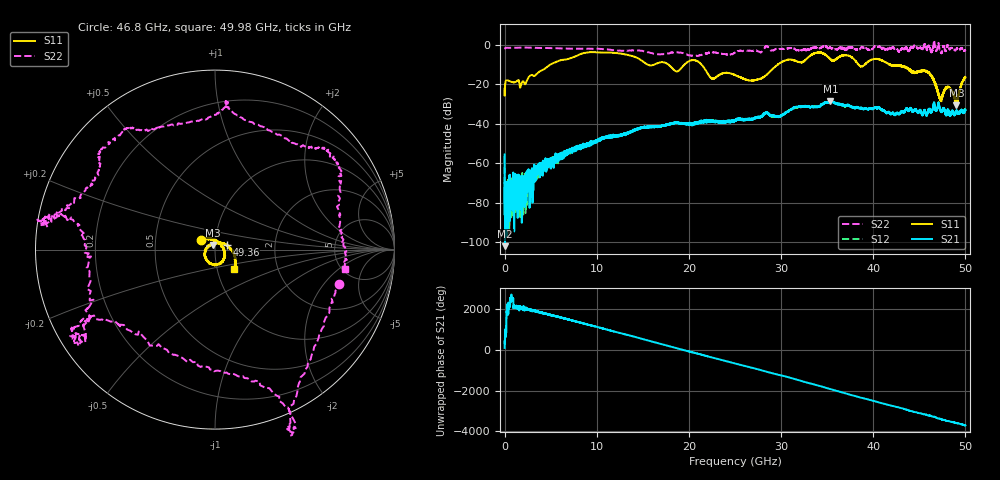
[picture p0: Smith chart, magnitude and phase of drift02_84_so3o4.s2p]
!Created with skrf (http://scikit-rf.org).
# Hz S RI R 50.0
!freq ReS11 ImS11 ReS21 ImS21 ReS12 ImS12 ReS22 ImS22
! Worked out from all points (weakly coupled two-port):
!   10001 points, 300 kHz to 50 GHz, reference 50 ohm
!   highest |S21| = -28.47 dB at 35.35 GHz (marker M1); lowest = -102.1 dB at 45.3 MHz (marker M2)
!   lowest |S11| = -30.7 dB at 49.02 GHz (marker M3), VSWR 1.06, Z = 48.6 + j2.55 ohm
!   |S11| at or under -10 dB: start of sweep to 4.956 GHz; 21.38 GHz to 29.63 GHz (8.245 GHz wide, 32.3 % of centre); 41.87 GHz to end of sweep (the widest 3 of 9)
!   |S22| runs from -5.7 to 2.3 dB; largest |S21 - S12| = 0.0036
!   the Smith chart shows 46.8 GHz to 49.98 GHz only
!   S11 on the Smith chart (normalised r, x): 46.8 GHz: 0.85, +0.09; 49.36 GHz: 1.14, +0.05; 49.98 GHz: 1.21, -0.27
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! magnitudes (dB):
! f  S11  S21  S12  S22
! 300 kHz  -22.2  -55.6  -56.6  -2.1
! 45.3 MHz  -20.8  -102.1  -80.4  -1.7
! 295.3 MHz  -17.9  -69.3  -74.4  -1.4
! 1.87 GHz  -19.1  -71.3  -73.0  -1.3
! 8.335 GHz  -4.5  -51.5  -52.0  -1.9
! 16.67 GHz  -9.1  -41.5  -41.6  -4.7
! 18.7 GHz  -13.5  -39.7  -39.6  -3.7
! 20.6 GHz  -7.7  -40.3  -40.3  -5.7
! 22.51 GHz  -17.1  -38.3  -38.8  -3.7
! 25 GHz  -15.3  -38.4  -38.3  -3.9
! 27.47 GHz  -17.6  -36.8  -36.6  -3.2
! 33.34 GHz  -4.9  -31.5  -31.2  -1.6
! 35.35 GHz  -7.2  -28.5  -28.7  -1.4
! 41.67 GHz  -9.7  -34.3  -34.3  -1.9
! 45.78 GHz  -13.5  -35.5  -35.7  -2.0
! 46.8 GHz  -20.4  -33.1  -32.9  -2.9
! 47.28 GHz  -27.8  -33.0  -33.0  -3.3
! 48.13 GHz  -21.5  -32.9  -33.1  -0.6
! 49.02 GHz  -30.7  -33.2  -34.1  -2.0
! 49.36 GHz  -23.2  -34.6  -34.0  -2.6
! 49.98 GHz  -16.3  -32.9  -32.5  -2.7
! 50 GHz  -16.4  -33.2  -32.8  -2.7
